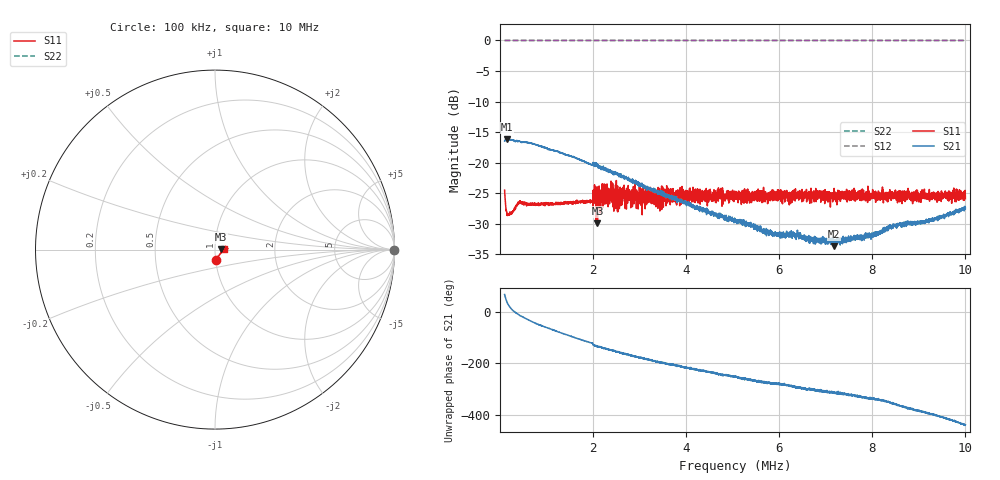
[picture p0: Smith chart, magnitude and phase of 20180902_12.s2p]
! Anritsu VNA Master:  Model: MS2026C/19
! SN:  1815009
! /card0/usr/20180902_12.s2p
! Existing Calibration Information:
! TYPE:  Current Settings,  Active Cal Settings
! TIME:  09/02/2018 12:45:59 PM,  09/02/2018 11:58:48 AM
! INTERNAL TEMP:  53.5 C,  48.8 C
! # POINTS:  4001,  4001
! START FREQ:  100.000 kHz,  100.000 kHz
! STOP FREQ:  10.000 MHz,  10.000 MHz
! SOURCE POWER:  Low,  Low
! IFBW:  500 Hz,  500 Hz
! AVG FACTOR:  5 ,  1
! REF PLANE 1:  0 mm,  0 mm
! REF PLANE 2:  0 mm,  0 mm
! CAL TYPE:  1P2P S11,S21,  1P2P S11,S21
! CAL METHOD:  SOLT,  SOLT
! CAL LINE TYPE:  Coax,  Coax
! DUT PORT 1:  N-Conn(M),  N-Conn(M)
! DUT PORT 2:  N-Conn(M),  N-Conn(M)
! CAL STATUS:  OK: Accuracy High,  --
# GHZ S RI R 50.0
! FREQ.GHZ  S11RE  S11IM  S21RE  S21IM  S12RE  S12IM  S22RE  S22IM
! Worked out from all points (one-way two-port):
!   4001 points, 100 kHz to 10 MHz, reference 50 ohm
!   highest |S21| = -16.17 dB at 152 kHz (marker M1); lowest = -33.7 dB at 7.183 MHz (marker M2)
!   lowest |S11| = -29.9 dB at 2.095 MHz (marker M3), VSWR 1.07, Z = 53.3 + j0.256 ohm
!   |S11| at or under -10 dB: start of sweep to end of sweep
!   |S22| runs from 0.0 to 0.0 dB; largest |S21 - S12| = 1.1
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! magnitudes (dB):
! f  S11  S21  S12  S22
! 100 kHz  -24.5  -16.5  0.0  0.0
! 152 kHz  -28.3  -16.2  0.0  0.0
! 216.3 kHz  -28.5  -16.2  0.0  0.0
! 429.2 kHz  -26.7  -16.5  0.0  0.0
! 1.751 MHz  -26.4  -19.6  0.0  0.0
! 1.951 MHz  -26.4  -20.3  0.0  0.0
! 2.038 MHz  -26.2  -20.3  0.0  0.0
! 2.095 MHz  -29.9  -20.3  0.0  0.0
! 2.377 MHz  -25.7  -21.4  0.0  0.0
! 2.573 MHz  -24.5  -21.9  0.0  0.0
! 2.622 MHz  -26.9  -22.2  0.0  0.0
! 3.402 MHz  -26.7  -24.7  0.0  0.0
! 3.535 MHz  -24.5  -25.0  0.0  0.0
! 3.798 MHz  -26.4  -26.2  0.0  0.0
! 5.05 MHz  -24.7  -29.2  0.0  0.0
! 5.825 MHz  -25.0  -31.2  0.0  0.0
! 6.701 MHz  -25.8  -32.8  0.0  0.0
! 7.183 MHz  -25.4  -33.7  0.0  0.0
! 7.973 MHz  -25.5  -32.5  0.0  0.0
! 8.352 MHz  -25.4  -30.7  0.0  0.0
! 9.151 MHz  -25.0  -29.7  0.0  0.0
! 10 MHz  -25.9  -27.4  0.0  0.0
